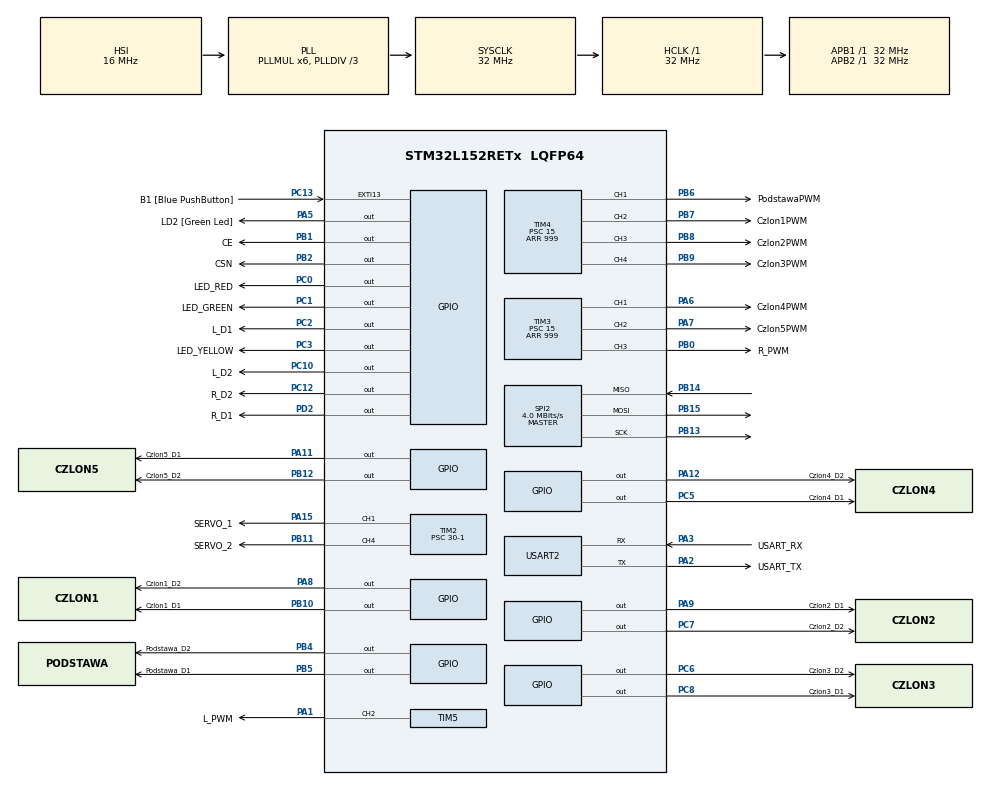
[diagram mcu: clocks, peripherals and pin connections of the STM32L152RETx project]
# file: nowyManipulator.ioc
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Mcu.Family=STM32L1
Mcu.Name=STM32L152RETx
Mcu.Package=LQFP64
NVIC.PriorityGroup=NVIC_PRIORITYGROUP_0
PA1.GPIO_Label=L_PWM
PA1.Signal=S_TIM5_CH2
PA11.GPIO_Label=Czlon5_D1
PA11.Signal=GPIO_Output
PA12.GPIO_Label=Czlon4_D2
PA12.Signal=GPIO_Output
PA13.GPIO_Label=TMS
PA13.Mode=Serial_Wire
PA13.Signal=SYS_JTMS-SWDIO
PA14.GPIO_Label=TCK
PA14.Mode=Serial_Wire
PA14.Signal=SYS_JTCK-SWCLK
PA15.GPIO_Label=SERVO_1
PA15.Signal=S_TIM2_CH1_ETR
PA2.GPIO_Label=USART_TX
PA2.Mode=Asynchronous
PA2.Signal=USART2_TX
PA3.GPIO_Label=USART_RX
PA3.Mode=Asynchronous
PA3.Signal=USART2_RX
PA5.GPIO_Label=LD2 [Green Led]
PA5.Signal=GPIO_Output
PA6.GPIO_Label=Czlon4PWM
PA6.Signal=S_TIM3_CH1
PA7.GPIO_Label=Czlon5PWM
PA7.Signal=S_TIM3_CH2
PA8.GPIO_Label=Czlon1_D2
PA8.Signal=GPIO_Output
PA9.GPIO_Label=Czlon2_D1
PA9.Signal=GPIO_Output
PB0.GPIO_Label=R_PWM
PB0.Signal=S_TIM3_CH3
PB1.GPIO_Label=CE
PB1.Signal=GPIO_Output
PB10.GPIO_Label=Czlon1_D1
PB10.Signal=GPIO_Output
PB11.GPIO_Label=SERVO_2
PB11.Signal=S_TIM2_CH4
PB12.GPIO_Label=Czlon5_D2
PB12.Signal=GPIO_Output
PB13.Mode=Full_Duplex_Master
PB13.Signal=SPI2_SCK
PB14.Mode=Full_Duplex_Master
PB14.Signal=SPI2_MISO
PB15.Mode=Full_Duplex_Master
PB15.Signal=SPI2_MOSI
PB2.GPIO_Label=CSN
PB2.Signal=GPIO_Output
PB3.GPIO_Label=SWO
PB3.Signal=SYS_JTDO-TRACESWO
PB4.GPIO_Label=Podstawa_D2
PB4.Signal=GPIO_Output
PB5.GPIO_Label=Podstawa_D1
PB5.Signal=GPIO_Output
PB6.GPIO_Label=PodstawaPWM
PB6.Signal=S_TIM4_CH1
PB7.GPIO_Label=Czlon1PWM
PB7.Signal=S_TIM4_CH2
PB8.GPIO_Label=Czlon2PWM
PB8.Signal=S_TIM4_CH3
PB9.GPIO_Label=Czlon3PWM
PB9.Signal=S_TIM4_CH4
PC0.GPIO_Label=LED_RED
PC0.Signal=GPIO_Output
PC1.GPIO_Label=LED_GREEN
PC1.Signal=GPIO_Output
PC10.GPIO_Label=L_D2
PC10.Signal=GPIO_Output
PC12.GPIO_Label=R_D2
PC12.Signal=GPIO_Output
PC13-WKUP2.GPIO_Label=B1 [Blue PushButton]
PC13-WKUP2.Signal=GPXTI13
PC14-OSC32_IN.Mode=LSE-External-Oscillator
PC14-OSC32_IN.Signal=RCC_OSC32_IN
PC15-OSC32_OUT.Mode=LSE-External-Oscillator
PC15-OSC32_OUT.Signal=RCC_OSC32_OUT
PC2.GPIO_Label=L_D1
PC2.Signal=GPIO_Output
PC3.GPIO_Label=LED_YELLOW
PC3.Signal=GPIO_Output
PC5.GPIO_Label=Czlon4_D1
PC5.Signal=GPIO_Output
PC6.GPIO_Label=Czlon3_D2
PC6.Signal=GPIO_Output
PC7.GPIO_Label=Czlon2_D2
PC7.Signal=GPIO_Output
PC8.GPIO_Label=Czlon3_D1
PC8.Signal=GPIO_Output
PD2.GPIO_Label=R_D1
PD2.Signal=GPIO_Output
PH0-OSC_IN.Mode=HSE-External-Clock-Source
PH0-OSC_IN.Signal=RCC_OSC_IN
PH1-OSC_OUT.Signal=RCC_OSC_OUT
ProjectManager.HeapSize=0x200
ProjectManager.StackSize=0x400
ProjectManager.TargetToolchain=STM32CubeIDE
RCC.48MHZClocksFreq_Value=48000000
RCC.AHBFreq_Value=32000000
RCC.APB1Freq_Value=32000000
RCC.APB1TimFreq_Value=32000000
RCC.APB2Freq_Value=32000000
RCC.APB2TimFreq_Value=32000000
RCC.HCLKFreq_Value=32000000
RCC.HSE_VALUE=8000000
RCC.HSI_VALUE=16000000
RCC.MSI_VALUE=2097000
RCC.PLLDIV=RCC_PLL_DIV3
RCC.PLLMUL=RCC_PLL_MUL6
RCC.RTCClockSelectionVirtual=RCC_RTCCLKSOURCE_LSE
RCC.SYSCLKFreq_VALUE=32000000
RCC.SYSCLKSource=RCC_SYSCLKSOURCE_PLLCLK
RCC.USBOutput=48000000
RCC.VCOOutputFreq_Value=96000000
SH.S_TIM2_CH1_ETR.0=TIM2_CH1,PWM Generation1 CH1
SH.S_TIM2_CH4.0=TIM2_CH4,PWM Generation4 CH4
SH.S_TIM3_CH1.0=TIM3_CH1,PWM Generation1 CH1
SH.S_TIM3_CH2.0=TIM3_CH2,PWM Generation2 CH2
SH.S_TIM3_CH3.0=TIM3_CH3,PWM Generation3 CH3
SH.S_TIM4_CH1.0=TIM4_CH1,PWM Generation1 CH1
SH.S_TIM4_CH2.0=TIM4_CH2,PWM Generation2 CH2
SH.S_TIM4_CH3.0=TIM4_CH3,PWM Generation3 CH3
SH.S_TIM4_CH4.0=TIM4_CH4,PWM Generation4 CH4
SH.S_TIM5_CH2.0=TIM5_CH2,PWM Generation2 CH2
SPI2.BaudRatePrescaler=SPI_BAUDRATEPRESCALER_8
SPI2.CalculateBaudRate=4.0 MBits/s
SPI2.Direction=SPI_DIRECTION_2LINES
SPI2.Mode=SPI_MODE_MASTER
SPI2.VirtualType=VM_MASTER
TIM2.Channel-PWM\ Generation1\ CH1=TIM_CHANNEL_1
TIM2.Channel-PWM\ Generation4\ CH4=TIM_CHANNEL_4
TIM2.Period=20000-1
TIM2.Prescaler=30-1
TIM2.Pulse-PWM\ Generation1\ CH1=1500
TIM2.Pulse-PWM\ Generation4\ CH4=1500
TIM3.Channel-PWM\ Generation1\ CH1=TIM_CHANNEL_1
TIM3.Channel-PWM\ Generation2\ CH2=TIM_CHANNEL_2
TIM3.Channel-PWM\ Generation3\ CH3=TIM_CHANNEL_3
TIM3.OCPolarity_3=TIM_OCPOLARITY_HIGH
TIM3.Period=999
TIM3.Prescaler=15
TIM4.Channel-PWM\ Generation1\ CH1=TIM_CHANNEL_1
TIM4.Channel-PWM\ Generation2\ CH2=TIM_CHANNEL_2
TIM4.Channel-PWM\ Generation3\ CH3=TIM_CHANNEL_3
TIM4.Channel-PWM\ Generation4\ CH4=TIM_CHANNEL_4
TIM4.OC3Preload_PWM=ENABLE
TIM4.Period=999
TIM4.Prescaler=15
TIM5.Channel-PWM\ Generation2\ CH2=TIM_CHANNEL_2
TIM5.Period=999
TIM5.Prescaler=15
USART2.VirtualMode=VM_ASYNC
VP_TIM2_VS_ClockSourceINT.Mode=Internal
VP_TIM3_VS_ClockSourceINT.Mode=Internal
VP_TIM4_VS_ClockSourceINT.Mode=Internal
VP_TIM5_VS_ClockSourceINT.Mode=Internal
board=NUCLEO-L152RE

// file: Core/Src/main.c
/* USER CODE BEGIN Header */
/**
 ******************************************************************************
 * @file           : main.c
 * @brief          : Main program body
 ******************************************************************************
 * @attention
 *
 * Copyright (c) 2023 STMicroelectronics.
 * All rights reserved.
 *
 * This software is licensed under terms that can be found in the LICENSE file
 * in the root directory of this software component.
 * If no LICENSE file comes with this software, it is provided AS-IS.
 *
 ******************************************************************************
 */
/* USER CODE END Header */
#include "main.h"
#include "spi.h"
#include "tim.h"
#include "usart.h"
#include "gpio.h"

/* USER CODE BEGIN Includes */
#include "nRF24_Defs.h"
#include "nRF24.h"
#include "string.h"
#include <math.h>
/* USER CODE END Includes */

/* USER CODE BEGIN PV */
uint8_t nrfdata[9];
uint8_t jetsondata[3];
uint8_t jetsondata4[4];
uint8_t autoY[3] = "&Y0";
uint8_t autoN[3] = ":N0";
uint8_t start[1];
uint8_t start2[1];

uint8_t button;
uint8_t button01;
uint8_t button1A;
uint8_t button1B;
uint8_t button2A;
uint8_t button2B;
uint8_t button3A;
uint8_t button3B;
uint8_t button4A;
uint8_t button4B;
uint8_t moveA;
uint8_t moveB;
uint8_t rotateA;
uint8_t rotateB;
uint8_t offcon;
uint8_t autonomy;
uint8_t sum;

uint8_t LEDR;
uint8_t LEDG;
uint8_t LEDY;
uint8_t otw;

uint8_t byte1;
uint8_t byte2;
uint8_t byte3;
uint8_t byte4;
uint8_t byte5;
uint8_t byte6;
uint8_t byte7;
uint8_t byte8;

uint8_t chsm;

uint8_t wheelStopFlag_L; //left wheels stopped - flag
uint8_t wheelStopFlag_R; //right wheels stopped - flag

float pwm1 = 0;
float pwm2 = 0;
float step = 0.25;

float pwmRight = 0;
float pwmLeft = 0;

float sx = 0;
float sy = 0;

uint32_t time;
uint32_t timereset;
uint32_t timeauto;
uint32_t timeauto2;
/* USER CODE END PV */

void SystemClock_Config(void);

int main(void)
{
  /* USER CODE BEGIN 1 */
	void stoppodst();
	void stopczlon5();
	void stopczlon1();
	void stopczlon2();
	void stopczlon3();
	void stopczlon4();

	void triggergripper();
	void motor5control();
	void motor4control();
	void motor3control();
	void motor2control();
	void motor1control();
	void motor0control();
	void move();
	void rotate();
	void stopjazdaL();
	void stopjazdaR();
	void rightside();
	void leftside();
	void RmotorF();
	void RmotorB();
	void LmotorF();
	void LmotorB();
	void servox();
	void servoy();
	void servox0();
	void servoy0();
	void czlon2L();
	void PWMval(uint8_t ch, uint16_t val);
	uint16_t map(uint16_t input_value, uint16_t minRange, uint16_t maxRange,
			uint16_t New_minRange, uint16_t New_maxRange);

  /* USER CODE END 1 */

  /* MCU Configuration--------------------------------------------------------*/

  /* Reset of all peripherals, Initializes the Flash interface and the Systick. */
  HAL_Init();

  /* Configure the system clock */
  SystemClock_Config();

  /* Initialize all configured peripherals */
  MX_GPIO_Init();
  MX_USART2_UART_Init();
  MX_SPI2_Init();
  MX_TIM3_Init();
  MX_TIM4_Init();
  MX_TIM5_Init();
  MX_TIM2_Init();
  /* USER CODE BEGIN 2 */

	//nRF initialize and settings
	nRF24_Init(&hspi2);
	nRF24_SetRXAddress(0, "Odb");
	nRF24_SetTXAddress("Nad");
	nRF24_RX_Mode();

	//Set timer 2 to PWM function

	HAL_TIM_PWM_Start(&htim4, TIM_CHANNEL_1);
	HAL_TIM_PWM_Start(&htim4, TIM_CHANNEL_2);
	HAL_TIM_PWM_Start(&htim4, TIM_CHANNEL_3);
	HAL_TIM_PWM_Start(&htim4, TIM_CHANNEL_4);
	HAL_TIM_PWM_Start(&htim3, TIM_CHANNEL_1);
	HAL_TIM_PWM_Start(&htim3, TIM_CHANNEL_2);
	HAL_TIM_PWM_Start(&htim3, TIM_CHANNEL_3);
	HAL_TIM_PWM_Start(&htim5, TIM_CHANNEL_2);

	HAL_TIM_PWM_Start(&htim2, TIM_CHANNEL_1);
	HAL_TIM_PWM_Start(&htim2, TIM_CHANNEL_4);
	time = HAL_GetTick();
	timereset = HAL_GetTick();
	timeauto = HAL_GetTick();
	timeauto2 = HAL_GetTick();
	stoppodst();
	stopczlon5();
	stopczlon1();
	stopczlon2();
	stopczlon3();
	stopczlon4();
	servox0();
	servoy0();

	autoY[2] = ((autoY[0] + autoY[1]) & 0xFF);

  /* USER CODE END 2 */

  /* Infinite loop */
  /* USER CODE BEGIN WHILE */
	while (1) {

		//Check if there is receive message

		if (nRF24_RXAvailible()) {
			//if working blink diode once per second
			if (HAL_GetTick() - time > 1000) {
				HAL_GPIO_TogglePin(LD2_GPIO_Port, LD2_Pin);
				time = HAL_GetTick();
			}
			//read received data and save to nrfdata variable
			nRF24_ReadRXPaylaod(nrfdata);
			timereset = HAL_GetTick();

			//byte 1
			button = nrfdata[0] & 0b00000001; // acsii 1 dec 49
			button01 = (nrfdata[0] & 0b00000010) >> 1; // ascii 2 dec 50
			button1A = (nrfdata[0] & 0b00000100) >> 2; // ascii 3 dec 51
			button1B = (nrfdata[0] & 0b00001000) >> 3; // ascii 4 dec 52
			button2A = (nrfdata[0] & 0b00010000) >> 4; // ascii 5 dec 53 obrot chwytaka
			button2B = (nrfdata[0] & 0b00100000) >> 5; // ascii 6 dec 54 obrot chwytaka
			button3A = (nrfdata[0] & 0b01000000) >> 6; // ascii 7 dec 55 otw
			button3B = (nrfdata[0] & 0b10000000) >> 7; // ascii 8 dec 56 zamk

			//byte 2
			button4A = (nrfdata[1] & 0b00000001); // acsii 9 dec 57
			button4B = (nrfdata[1] & 0b00000010) >> 1; // ascii : dec 58
			moveA = (nrfdata[1] & 0b00000100) >> 2; // ascii ; dec 59
			moveB = (nrfdata[1] & 0b00001000) >> 3; // ascii < dec 60
			rotateA = (nrfdata[1] & 0b00010000) >> 4; // ascii > dec 62
			rotateB = (nrfdata[1] & 0b00100000) >> 5; // ascii ? dec 63
			offcon = (nrfdata[1] & 0b01000000) >> 6; // ascii 7
			autonomy = (nrfdata[1] & 0b10000000) >> 7; // ascii 8

			byte1 = nrfdata[0];
			byte2 = nrfdata[1];
			byte3 = nrfdata[2];
			byte4 = nrfdata[3];
			byte5 = nrfdata[4];
			byte6 = nrfdata[5];
			byte7 = nrfdata[6]; // nrfdata6
			byte8 = nrfdata[7]; // nrfdata7

			chsm = nrfdata[8];
			sum = ((byte1 + byte2 + byte3 + byte4 + byte5 + byte6 + byte7
					+ byte8) & 0xFF);

		}

		//if there is no signal restart nRF24 and stop motor
		if (HAL_GetTick() - timereset > 400) {

			stoppodst();
			stopczlon5();
			stopczlon1();
			stopczlon2();
			stopczlon3();
			stopczlon4();
			servox0();
			servoy0();
			if (0 > pwmLeft) {
				pwmLeft = pwmLeft + 20;
			} else if (0 < pwmLeft) {
				pwmLeft = pwmLeft - 20;
			}
			if (pwmLeft >=  20) {
				LmotorF();
				PWMval(7, (int) pwmLeft);
			} else if (pwmLeft < -20) {
				LmotorB();
				PWMval(7, ((int) pwmLeft) * -1);
			}
			else {
				PWMval(7, 0);
				wheelStopFlag_L = 1;
			}
			if (0 > pwmRight) {
				pwmRight = pwmRight + 20;
			} else if (0 < pwmRight) {
				pwmRight = pwmRight - 20;
			}
			if (pwmRight >= 20) {
				RmotorF();
				PWMval(6, (int) pwmRight);
			} else if (pwmRight < -20) {
				RmotorB();
				PWMval(6, ((int) pwmRight) * -1);
			}
			else {
				PWMval(6, 0);
				wheelStopFlag_R = 1;
			}

			if (wheelStopFlag_L && wheelStopFlag_R){
				//nRF restart
				nRF24_Init(&hspi2);
				nRF24_SetRXAddress(0, "Odb");
				nRF24_SetTXAddress("Nad");
				nRF24_RX_Mode();
			}

		}

		if (sum == chsm) {
			if (offcon) {
				HAL_GPIO_WritePin(LED_GREEN_GPIO_Port, LED_GREEN_Pin,
						GPIO_PIN_RESET);
				HAL_GPIO_WritePin(LED_YELLOW_GPIO_Port, LED_YELLOW_Pin,
						GPIO_PIN_RESET);
				HAL_GPIO_WritePin(LED_RED_GPIO_Port, LED_RED_Pin, GPIO_PIN_SET);
				stoppodst();
				stopczlon5();
				stopczlon1();
				stopczlon2();
				stopczlon3();
				stopczlon4();
				stopjazdaR();
				stopjazdaL();
				servox0();
				servoy0();

			}
			else if (autonomy)
			{
				HAL_GPIO_WritePin(LED_RED_GPIO_Port, LED_RED_Pin,
						GPIO_PIN_RESET);
				HAL_GPIO_WritePin(LED_GREEN_GPIO_Port, LED_GREEN_Pin,
						GPIO_PIN_RESET);
				//HAL_GPIO_WritePin(LED_YELLOW_GPIO_Port, LED_YELLOW_Pin, GPIO_PIN_SET);

				HAL_UART_Transmit(&huart2, autoY, 3, 100);

				if (HAL_UART_Receive(&huart2, start, 1, 100) != 3 && start[0] == 58)
				{

					HAL_UART_Receive(&huart2, jetsondata, 3, 100);

					if (jetsondata[2] == ((jetsondata[1] + jetsondata[0] + start[0]) & 0xFF))
					{

						if (jetsondata[1] == 200 && jetsondata[2] == 200)
						{
							//otw chwytaka
							czlon2L();
							PWMval(2, 1000);
						}
						else
						{
						pwm1 = map(jetsondata[0], 32, 127, 0, 1000);
						pwm1 = (pwm1 - 500) * 2;

						if (pwm1 > -200 && pwm1 < 200) {
							PWMval(6, 0);
						}

						else if (pwm1 > pwmRight) {
							pwmRight = pwmRight + step;
						}
						else if (pwm1 < pwmRight) {
							pwmRight = pwmRight - step;
						}
						if (pwmRight > 0) {
							RmotorF();
							PWMval(6, (int) pwmRight);
						}
						else if (pwmRight < 0) {
							RmotorB();
							PWMval(6, ((int) pwmRight) * -1);
						}

						pwm2 = map(jetsondata[1], 32, 127, 0, 1000);
						pwm2 = (pwm2 - 500) * 2;
						if (pwm1 > -200 && pwm1 < 200) {
							PWMval(7, 0);
						}
						else if (pwm2 > pwmLeft) {
							pwmLeft = pwmLeft + step;
						}
						else if (pwm2 < pwmLeft) {
							pwmLeft = pwmLeft - step;
						}
						if (pwmLeft > 0) {
							LmotorF();
							PWMval(7, (int) pwmLeft);
						}
						else if (pwmLeft < 0) {
							LmotorB();
							PWMval(7, ((int) pwmLeft) * -1);
						}

						if (HAL_GetTick() - timeauto > 1000) {
							HAL_GPIO_TogglePin(LED_YELLOW_GPIO_Port,
									LED_YELLOW_Pin);
							timeauto = HAL_GetTick();
						}

						}

					}
					else {
						stoppodst();
						stopczlon5();
						stopczlon1();
						stopczlon2();
						stopczlon3();
						stopczlon4();
						stopjazdaR();
						stopjazdaL();
					}
				}

			}
			else {
				// triggergripper();
				HAL_GPIO_WritePin(LED_YELLOW_GPIO_Port, LED_YELLOW_Pin,
						GPIO_PIN_RESET);
				HAL_GPIO_WritePin(LED_RED_GPIO_Port, LED_RED_Pin,
						GPIO_PIN_RESET);
				HAL_GPIO_WritePin(LED_GREEN_GPIO_Port, LED_GREEN_Pin,
						GPIO_PIN_SET);

				rightside();
				leftside();
				motor5control();
				motor4control();
				motor3control();
				motor2control();
				motor1control();
				motor0control();
				servox();
				servoy();

				// move();
				// rotate();
			}
		}

		/*
		 if(nRF24_RXAvailible())
		 {
		 nRF24_ReadRXPaylaod(Nrf24_Message);
		 HAL_GPIO_TogglePin(LED1_GPIO_Port, LED1_Pin);
		 //MessageLength = sprintf(Message, "%c\n\r", Nrf24_Message[0]);
		 //HAL_UART_Transmit(&huart2, Message, MessageLength, 1000);
		 }
		 */
    /* USER CODE END WHILE */

	}
}

void SystemClock_Config(void)
{
  RCC_OscInitTypeDef RCC_OscInitStruct = {0};
  RCC_ClkInitTypeDef RCC_ClkInitStruct = {0};

  /** Configure the main internal regulator output voltage
  */
  __HAL_PWR_VOLTAGESCALING_CONFIG(PWR_REGULATOR_VOLTAGE_SCALE1);

  /** Initializes the RCC Oscillators according to the specified parameters
  * in the RCC_OscInitTypeDef structure.
  */
  RCC_OscInitStruct.OscillatorType = RCC_OSCILLATORTYPE_HSI;
  RCC_OscInitStruct.HSIState = RCC_HSI_ON;
  RCC_OscInitStruct.HSICalibrationValue = RCC_HSICALIBRATION_DEFAULT;
  RCC_OscInitStruct.PLL.PLLState = RCC_PLL_ON;
  RCC_OscInitStruct.PLL.PLLSource = RCC_PLLSOURCE_HSI;
  RCC_OscInitStruct.PLL.PLLMUL = RCC_PLL_MUL6;
  RCC_OscInitStruct.PLL.PLLDIV = RCC_PLL_DIV3;
  if (HAL_RCC_OscConfig(&RCC_OscInitStruct) != HAL_OK)
  {
    Error_Handler();
  }

  /** Initializes the CPU, AHB and APB buses clocks
  */
  RCC_ClkInitStruct.ClockType = RCC_CLOCKTYPE_HCLK|RCC_CLOCKTYPE_SYSCLK
                              |RCC_CLOCKTYPE_PCLK1|RCC_CLOCKTYPE_PCLK2;
  RCC_ClkInitStruct.SYSCLKSource = RCC_SYSCLKSOURCE_PLLCLK;
  RCC_ClkInitStruct.AHBCLKDivider = RCC_SYSCLK_DIV1;
  RCC_ClkInitStruct.APB1CLKDivider = RCC_HCLK_DIV1;
  RCC_ClkInitStruct.APB2CLKDivider = RCC_HCLK_DIV1;

  if (HAL_RCC_ClockConfig(&RCC_ClkInitStruct, FLASH_LATENCY_1) != HAL_OK)
  {
    Error_Handler();
  }
}

/* USER CODE BEGIN 4 */

uint16_t map(uint16_t input_value, uint16_t minRange, uint16_t maxRange,
		uint16_t New_minRange, uint16_t New_maxRange) {
	return (((input_value - minRange) * (New_maxRange - New_minRange))
			/ (maxRange - minRange) + New_minRange);
}
void PWMval(uint8_t ch, uint16_t val) {
	switch (ch) {
	case 0:
		__HAL_TIM_SET_COMPARE(&htim4, TIM_CHANNEL_1, val);
		break;
	case 1:
		__HAL_TIM_SET_COMPARE(&htim4, TIM_CHANNEL_2, val);
		break;
	case 2:
		__HAL_TIM_SET_COMPARE(&htim4, TIM_CHANNEL_3, val);
		break;
	case 3:
		__HAL_TIM_SET_COMPARE(&htim4, TIM_CHANNEL_4, val);
		break;
	case 4:
		__HAL_TIM_SET_COMPARE(&htim3, TIM_CHANNEL_1, val);
		break;
	case 5:
		__HAL_TIM_SET_COMPARE(&htim3, TIM_CHANNEL_2, val);
		break;
	case 6:
		__HAL_TIM_SET_COMPARE(&htim3, TIM_CHANNEL_3, val);
		break;
	case 7:
		__HAL_TIM_SET_COMPARE(&htim5, TIM_CHANNEL_2, val);
		break;
	}
}
void podstR() {
	HAL_GPIO_WritePin(Podstawa_D1_GPIO_Port, Podstawa_D1_Pin, GPIO_PIN_RESET);
	HAL_GPIO_WritePin(Podstawa_D2_GPIO_Port, Podstawa_D2_Pin, GPIO_PIN_SET);

}
void podstL() {
	HAL_GPIO_WritePin(Podstawa_D2_GPIO_Port, Podstawa_D2_Pin, GPIO_PIN_RESET);
	HAL_GPIO_WritePin(Podstawa_D1_GPIO_Port, Podstawa_D1_Pin, GPIO_PIN_SET);
}

void stoppodst() {
	HAL_GPIO_WritePin(Podstawa_D1_GPIO_Port, Podstawa_D1_Pin, GPIO_PIN_RESET);
	HAL_GPIO_WritePin(Podstawa_D2_GPIO_Port, Podstawa_D2_Pin, GPIO_PIN_RESET);
	PWMval(0, 0);
}

void czlon1R() {
	HAL_GPIO_WritePin(Czlon1_D1_GPIO_Port, Czlon1_D1_Pin, GPIO_PIN_RESET);
	HAL_GPIO_WritePin(Czlon1_D2_GPIO_Port, Czlon1_D2_Pin, GPIO_PIN_SET);
}
void czlon1L() {
	HAL_GPIO_WritePin(Czlon1_D1_GPIO_Port, Czlon1_D1_Pin, GPIO_PIN_SET);
	HAL_GPIO_WritePin(Czlon1_D2_GPIO_Port, Czlon1_D2_Pin, GPIO_PIN_RESET);
}
void stopczlon1() {
	HAL_GPIO_WritePin(Czlon1_D1_GPIO_Port, Czlon1_D1_Pin, GPIO_PIN_RESET);
	HAL_GPIO_WritePin(Czlon1_D2_GPIO_Port, Czlon1_D2_Pin, GPIO_PIN_RESET);
	PWMval(1, 0);
}

void czlon2R() {
	HAL_GPIO_WritePin(Czlon2_D1_GPIO_Port, Czlon2_D1_Pin, GPIO_PIN_RESET);
	HAL_GPIO_WritePin(Czlon2_D2_GPIO_Port, Czlon2_D2_Pin, GPIO_PIN_SET);
}
void czlon2L() {
	HAL_GPIO_WritePin(Czlon2_D1_GPIO_Port, Czlon2_D1_Pin, GPIO_PIN_SET);
	HAL_GPIO_WritePin(Czlon2_D2_GPIO_Port, Czlon2_D2_Pin, GPIO_PIN_RESET);
}
void stopczlon2() {
	HAL_GPIO_WritePin(Czlon2_D1_GPIO_Port, Czlon2_D1_Pin, GPIO_PIN_RESET);
	HAL_GPIO_WritePin(Czlon2_D2_GPIO_Port, Czlon2_D2_Pin, GPIO_PIN_RESET);
	PWMval(2, 0);
}

void czlon3R() {
	HAL_GPIO_WritePin(Czlon3_D1_GPIO_Port, Czlon3_D1_Pin, GPIO_PIN_RESET);
	HAL_GPIO_WritePin(Czlon3_D2_GPIO_Port, Czlon3_D2_Pin, GPIO_PIN_SET);
}
void czlon3L() {
	HAL_GPIO_WritePin(Czlon3_D1_GPIO_Port, Czlon3_D1_Pin, GPIO_PIN_SET);
	HAL_GPIO_WritePin(Czlon3_D2_GPIO_Port, Czlon3_D2_Pin, GPIO_PIN_RESET);
}
void stopczlon3() {
	HAL_GPIO_WritePin(Czlon3_D1_GPIO_Port, Czlon3_D1_Pin, GPIO_PIN_RESET);
	HAL_GPIO_WritePin(Czlon3_D2_GPIO_Port, Czlon3_D2_Pin, GPIO_PIN_RESET);
	PWMval(3, 0);
}

void czlon4R() {
	HAL_GPIO_WritePin(Czlon4_D1_GPIO_Port, Czlon4_D1_Pin, GPIO_PIN_RESET);
	HAL_GPIO_WritePin(Czlon4_D2_GPIO_Port, Czlon4_D2_Pin, GPIO_PIN_SET);
}
void czlon4L() {
	HAL_GPIO_WritePin(Czlon4_D1_GPIO_Port, Czlon4_D1_Pin, GPIO_PIN_SET);
	HAL_GPIO_WritePin(Czlon4_D2_GPIO_Port, Czlon4_D2_Pin, GPIO_PIN_RESET);
}
void stopczlon4() {
	HAL_GPIO_WritePin(Czlon4_D1_GPIO_Port, Czlon4_D1_Pin, GPIO_PIN_RESET);
	HAL_GPIO_WritePin(Czlon4_D2_GPIO_Port, Czlon4_D2_Pin, GPIO_PIN_RESET);
	PWMval(4, 0);
}

void czlon5R() {
	HAL_GPIO_WritePin(Czlon5_D1_GPIO_Port, Czlon5_D1_Pin, GPIO_PIN_RESET);
	HAL_GPIO_WritePin(Czlon5_D2_GPIO_Port, Czlon5_D2_Pin, GPIO_PIN_SET);
}
void czlon5L() {
	HAL_GPIO_WritePin(Czlon5_D1_GPIO_Port, Czlon5_D1_Pin, GPIO_PIN_SET);
	HAL_GPIO_WritePin(Czlon5_D2_GPIO_Port, Czlon5_D2_Pin, GPIO_PIN_RESET);
}
void stopczlon5() {
	HAL_GPIO_WritePin(Czlon5_D1_GPIO_Port, Czlon5_D1_Pin, GPIO_PIN_RESET);
	HAL_GPIO_WritePin(Czlon5_D2_GPIO_Port, Czlon5_D2_Pin, GPIO_PIN_RESET);
	PWMval(5, 0);
}

void LmotorF() {
	HAL_GPIO_WritePin(L_D1_GPIO_Port, L_D1_Pin, GPIO_PIN_RESET);
	HAL_GPIO_WritePin(L_D2_GPIO_Port, L_D2_Pin, GPIO_PIN_SET);
}
void LmotorB() {
	HAL_GPIO_WritePin(L_D2_GPIO_Port, L_D2_Pin, GPIO_PIN_RESET);
	HAL_GPIO_WritePin(L_D1_GPIO_Port, L_D1_Pin, GPIO_PIN_SET);
}

void RmotorF() {
	HAL_GPIO_WritePin(R_D1_GPIO_Port, R_D1_Pin, GPIO_PIN_RESET);
	HAL_GPIO_WritePin(R_D2_GPIO_Port, R_D2_Pin, GPIO_PIN_SET);
}
void RmotorB() {
	HAL_GPIO_WritePin(R_D2_GPIO_Port, R_D2_Pin, GPIO_PIN_RESET);
	HAL_GPIO_WritePin(R_D1_GPIO_Port, R_D1_Pin, GPIO_PIN_SET);
}

void stopjazdaR() {
	if (0 > pwmRight) {
		pwmRight = pwmRight + step;
	} else if (0 < pwmRight) {
		pwmRight = pwmRight - step;
	}
	if (pwmRight >= 0) {
		RmotorF();
		PWMval(6, (int) pwmRight);
	} else if (pwmRight < 0) {
		RmotorB();
		PWMval(6, ((int) pwmRight) * -1);
	}

}
void stopjazdaL() {
	if (0 > pwmLeft) {
		pwmLeft = pwmLeft + step;
	} else if (0 < pwmLeft) {
		pwmLeft = pwmLeft - step;
	}
	if (pwmLeft >= 0) {
		LmotorF();
		PWMval(7, (int) pwmLeft);
	} else if (pwmLeft < 0) {
		LmotorB();
		PWMval(7, ((int) pwmLeft) * -1);
	}

}
void rightside() {
	pwm1 = map(byte7, 32, 127, 0, 1000);
	if (button) {
		pwm1 = pwm1 * -1;
	}

	if (pwm1 > pwmRight) {
		pwmRight = pwmRight + step;
	} else if (pwm1 < pwmRight) {
		pwmRight = pwmRight - step;
	}
	if (pwmRight >= 0) {
		RmotorF();
		PWMval(6, (int) pwmRight);
	} else if (pwmRight < 0) {
		RmotorB();
		PWMval(6, ((int) pwmRight) * -1);
	}

}
void leftside() {

	pwm2 = map(byte8, 32, 127, 0, 1000);

	if (button01) {
		pwm2 = pwm2 * -1;
	}

	if (pwm2 > pwmLeft) {
		pwmLeft = pwmLeft + step;
	} else if (pwm2 < pwmLeft) {
		pwmLeft = pwmLeft - step;
	}
	if (pwmLeft >= 0) {
		LmotorF();
		PWMval(7, (int) pwmLeft);
	} else if (pwmLeft < 0) {
		LmotorB();
		PWMval(7, ((int) pwmLeft) * -1);
	}

}

void servox() {

	sx = map(byte5, 32, 127, 1250,1750);
	if(byte5 < 90 && byte5 > 70)
	{
		sx = 1500;
		__HAL_TIM_SET_COMPARE(&htim2, TIM_CHANNEL_1, sx);
	}

	__HAL_TIM_SET_COMPARE(&htim2, TIM_CHANNEL_1, sx);

}
void servox0() {
	__HAL_TIM_SET_COMPARE(&htim2, TIM_CHANNEL_1, 1500);

}
void servoy() {

	sy = map(byte6, 32, 127, 1000, 2000);
	__HAL_TIM_SET_COMPARE(&htim2, TIM_CHANNEL_4, sy);

}
void servoy0(){
	__HAL_TIM_SET_COMPARE(&htim2, TIM_CHANNEL_4, 1500);

}

void motor0control() {
	if (button1A) {
		podstL();
		PWMval(0, 1000);
	} else if (button1B) {
		podstR();
		PWMval(0, 1000);
	} else {
		stoppodst();
	}
}

void motor1control() {
	if (button2A) {
		czlon1L();
		PWMval(1, 1000);
	} else if (button2B) {
		czlon1R();
		PWMval(1, 1000);
	} else {
		stopczlon1();
	}
}

void motor2control() {
	if (button3A) {
		czlon2L();
		PWMval(2, 1000);
	} else if (button3B) {
		czlon2R();
		PWMval(2, 1000);
	} else {
		stopczlon2();
	}
}

void motor3control() {
	if (button4A) {
		czlon3L();
		PWMval(3, 1000);
	} else if (button4B) {
		czlon3R();
		PWMval(3, 1000);
	} else {
		stopczlon3();
	}
}

void motor4control() {
	if (moveA) {
		czlon4L();
		PWMval(4, 1000);
	} else if (moveB) {
		czlon4R();
		PWMval(4, 1000);
	} else {
		stopczlon4();
	}
}

void motor5control() {
	if (rotateA) {
		czlon5L();
		PWMval(5, 1000);
	} else if (rotateB) {
		czlon5R();
		PWMval(5, 1000);
	} else {
		stopczlon5();
	}
}

//void kinematyka()
//{
//	float l1=0.39;
//	float l2=0.335;
//	float l3=0.23;
//	float fi=0;
//
//
//
//	float x=0.5;
//	float y=0.3;
//
//	float x2=x-l3;
//	float y2=y;
//
//
//	float teta2=acos(((x2^2)+(y2^2)-(l1^2)-(l2^2))/(2*l1*l2));
//	float teta1=acos(((x2^2)+((l1+l2*cos(teta2))^2)-((y2-l2*sin(teta2))^2))/(2*x2*(l1+l2*cos(teta2))));
//	float teta3=fi-teta1-teta2;
//
//}

/* USER CODE END 4 */

void Error_Handler(void)
{
	__disable_irq();
	while (1) {
	}
}
